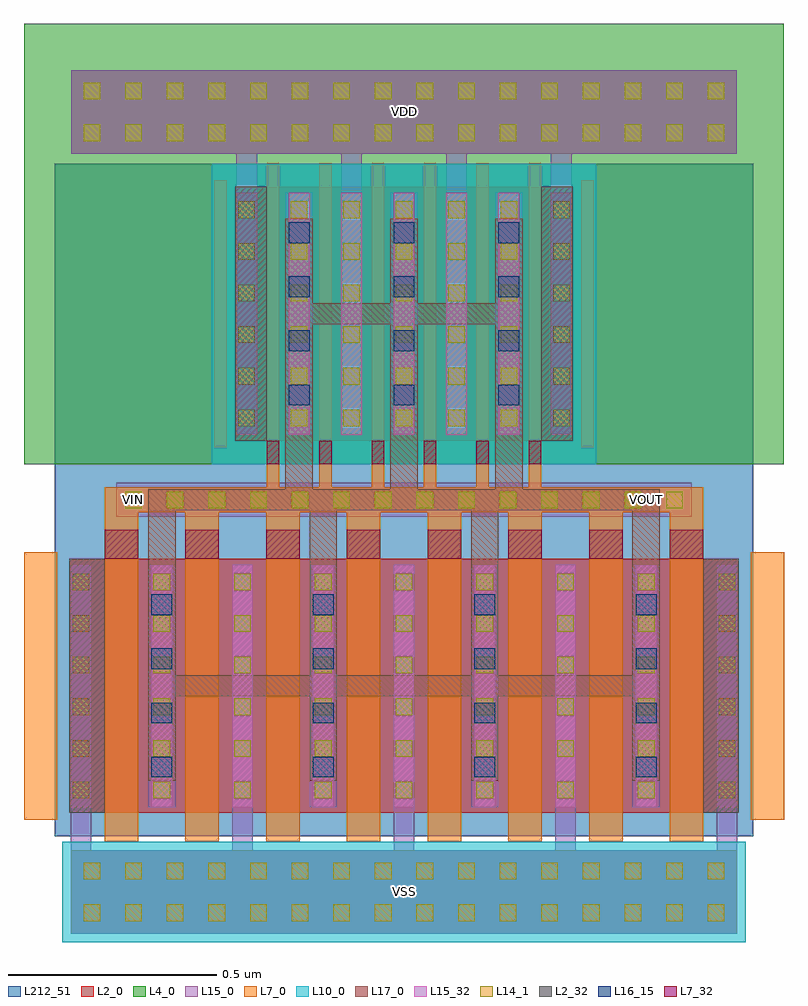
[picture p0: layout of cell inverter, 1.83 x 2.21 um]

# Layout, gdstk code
import gdstk
lib = gdstk.Library(unit=1e-6, precision=1e-09)
def R(c, l, rs):  # rectangles x0, y0, x1, y1
    for r in rs: c.add(gdstk.rectangle(r[:2], r[2:], *l))
def A(c, l, x, y, w, h, nx, ny, dx, dy):  # array of equal rectangles
    R(c, l, [(x+i*dx, y+j*dy, x+i*dx+w, y+j*dy+h) for i in range(nx) for j in range(ny)])
L2_0 = (2, 0)
L2_32 = (2, 32)
L4_0 = (4, 0)
L7_0 = (7, 0)
L7_32 = (7, 32)
L10_0 = (10, 0)
L14_1 = (14, 1)
L15_0 = (15, 0)
L15_32 = (15, 32)
L16_15 = (16, 15)
L17_0 = (17, 0)
L212_51 = (212, 51)

nmosininverter = lib.new_cell('nmosIninverter')
R(nmosininverter, L2_0, [(-0.804,-0.305,0.804,0.305)])
R(nmosininverter, L2_32, [(-0.804,-0.305,-0.719,0.305), (0.719,-0.305,0.804,0.305)])
A(nmosininverter, L7_0, -0.719, -0.375, 0.08, 0.75, 8, 1, 0.194, 0)
R(nmosininverter, L7_0, [(-0.913,-0.321,-0.833,0.321), (0.833,-0.321,0.913,0.321)])
A(nmosininverter, L7_32, -0.719, 0.305, 0.08, 0.07, 8, 1, 0.194, 0)
A(nmosininverter, L14_1, -0.796, -0.27, 0.04, 0.04, 9, 6, 0.194, 0.1)
A(nmosininverter, L15_0, -0.801, -0.291, 0.05, 0.582, 9, 1, 0.194, 0)
A(nmosininverter, L15_32, -0.801, -0.291, 0.05, 0.582, 9, 1, 0.194, 0)
R(nmosininverter, L212_51, [(-0.839,-0.361,0.839,0.361)])

pmosininverter = lib.new_cell('pmosIninverter')
R(pmosininverter, L2_0, [(-0.406,-0.305,0.406,0.305)])
R(pmosininverter, L2_32, [(-0.406,-0.305,-0.33,0.305), (0.33,-0.305,0.406,0.305)])
A(pmosininverter, L7_0, -0.33, -0.362, 0.03, 0.724, 6, 1, 0.126, 0)
R(pmosininverter, L7_0, [(-0.456,-0.321,-0.426,0.321), (0.426,-0.321,0.456,0.321)])
A(pmosininverter, L7_32, -0.33, -0.362, 0.03, 0.057, 6, 1, 0.126, 0)
R(pmosininverter, L10_0, [(-0.462,-0.361,0.462,0.361)])
A(pmosininverter, L14_1, -0.398, -0.27, 0.04, 0.04, 7, 6, 0.126, 0.1)
A(pmosininverter, L15_0, -0.403, -0.291, 0.05, 0.582, 7, 1, 0.126, 0)
A(pmosininverter, L15_32, -0.403, -0.291, 0.05, 0.582, 7, 1, 0.126, 0)
R(pmosininverter, L212_51, [(-0.441,-0.361,0.441,0.361)])

vdd_supplyininverter = lib.new_cell('vdd_supplyIninverter')
R(vdd_supplyininverter, L2_0, [(-0.8,-0.1,0.8,0.1)])
A(vdd_supplyininverter, L14_1, -0.77, -0.07, 0.04, 0.04, 16, 2, 0.1, 0.1)
R(vdd_supplyininverter, L15_0, [(-0.8,-0.1,0.8,0.1)])

vss_supplyininverter = lib.new_cell('vss_supplyIninverter')
R(vss_supplyininverter, L2_0, [(-0.8,-0.1,0.8,0.1)])
R(vss_supplyininverter, L10_0, [(-0.821,-0.121,0.821,0.121)])
A(vss_supplyininverter, L14_1, -0.77, -0.07, 0.04, 0.04, 16, 2, 0.1, 0.1)
R(vss_supplyininverter, L15_0, [(-0.8,-0.1,0.8,0.1)])

gate_contactsininverter = lib.new_cell('gate_contactsIninverter')
R(gate_contactsininverter, L7_0, [(-0.68,-0.03,0.68,0.03)])
A(gate_contactsininverter, L14_1, -0.67, -0.02, 0.04, 0.04, 14, 1, 0.1, 0)
R(gate_contactsininverter, L15_0, [(-0.691,-0.041,0.691,0.041)])

nmos_viasininverter = lib.new_cell('nmos_viasIninverter')
R(nmos_viasininverter, L15_0, [(-0.033,-0.228,0.033,0.228)])
A(nmos_viasininverter, L16_15, -0.025, -0.22, 0.05, 0.05, 1, 4, 0, 0.13)
R(nmos_viasininverter, L17_0, [(-0.033,-0.228,0.033,0.228)])

pmos_viasininverter = lib.new_cell('pmos_viasIninverter')
R(pmos_viasininverter, L15_0, [(-0.033,-0.228,0.033,0.228)])
A(pmos_viasininverter, L16_15, -0.025, -0.22, 0.05, 0.05, 1, 4, 0, 0.13)
R(pmos_viasininverter, L17_0, [(-0.033,-0.228,0.033,0.228)])

inverter = lib.new_cell('inverter')
R(inverter, L4_0, [(-0.912,0.859,0.912,1.917), (-0.912,1.582,0.912,1.67)])
R(inverter, L7_0, [(-0.719,0.743,0.719,0.803)])
R(inverter, L10_0, [(-0.166,-0.29,0.166,-0.048)])
A(inverter, L15_0, -0.615, 0.035, 0.066, 0.582, 4, 1, 0.388, 0)
A(inverter, L15_0, -0.285, 0.929, 0.066, 0.582, 3, 1, 0.252, 0)
R(inverter, L17_0, [(-0.615,0.748,0.615,0.798)])
R(inverter, L212_51, [(-0.839,-0.035,0.839,1.581)])
inverter.add(gdstk.FlexPath([(-0.776,0.326),(-0.776,-0.269)], 0.05, ends="flush", simple_path=True, layer=15, datatype=0))  # L15_0
inverter.add(gdstk.FlexPath([(-0.388,0.326),(-0.388,-0.269)], 0.05, ends="flush", simple_path=True, layer=15, datatype=0))  # L15_0
inverter.add(gdstk.FlexPath([(0,0.326),(0,-0.269)], 0.05, ends="flush", simple_path=True, layer=15, datatype=0))  # L15_0
inverter.add(gdstk.FlexPath([(0.388,0.326),(0.388,-0.269)], 0.05, ends="flush", simple_path=True, layer=15, datatype=0))  # L15_0
inverter.add(gdstk.FlexPath([(0.776,0.326),(0.776,-0.269)], 0.05, ends="flush", simple_path=True, layer=15, datatype=0))  # L15_0
inverter.add(gdstk.FlexPath([(-0.378,1.22),(-0.378,1.805)], 0.05, ends="flush", simple_path=True, layer=15, datatype=0))  # L15_0
inverter.add(gdstk.FlexPath([(-0.126,1.22),(-0.126,1.805)], 0.05, ends="flush", simple_path=True, layer=15, datatype=0))  # L15_0
inverter.add(gdstk.FlexPath([(0.126,1.22),(0.126,1.805)], 0.05, ends="flush", simple_path=True, layer=15, datatype=0))  # L15_0
inverter.add(gdstk.FlexPath([(0.378,1.22),(0.378,1.805)], 0.05, ends="flush", simple_path=True, layer=15, datatype=0))  # L15_0
inverter.add(gdstk.FlexPath([(-0.252,1.22),(0.252,1.22)], 0.05, ends="flush", simple_path=True, layer=17, datatype=0))  # L17_0
inverter.add(gdstk.FlexPath([(-0.582,0.326),(0.582,0.326)], 0.05, ends="flush", simple_path=True, layer=17, datatype=0))  # L17_0
inverter.add(gdstk.FlexPath([(-0.315,1.22),(-0.315,0.773)], 0.03, ends="flush", simple_path=True, layer=7, datatype=0))  # L7_0
inverter.add(gdstk.FlexPath([(-0.189,1.22),(-0.189,0.773)], 0.03, ends="flush", simple_path=True, layer=7, datatype=0))  # L7_0
inverter.add(gdstk.FlexPath([(-0.063,1.22),(-0.063,0.773)], 0.03, ends="flush", simple_path=True, layer=7, datatype=0))  # L7_0
inverter.add(gdstk.FlexPath([(0.063,1.22),(0.063,0.773)], 0.03, ends="flush", simple_path=True, layer=7, datatype=0))  # L7_0
inverter.add(gdstk.FlexPath([(0.189,1.22),(0.189,0.773)], 0.03, ends="flush", simple_path=True, layer=7, datatype=0))  # L7_0
inverter.add(gdstk.FlexPath([(0.315,1.22),(0.315,0.773)], 0.03, ends="flush", simple_path=True, layer=7, datatype=0))  # L7_0
inverter.add(gdstk.FlexPath([(-0.679,0.326),(-0.679,0.773)], 0.08, ends="flush", simple_path=True, layer=7, datatype=0))  # L7_0
inverter.add(gdstk.FlexPath([(-0.485,0.326),(-0.485,0.773)], 0.08, ends="flush", simple_path=True, layer=7, datatype=0))  # L7_0
inverter.add(gdstk.FlexPath([(-0.291,0.326),(-0.291,0.773)], 0.08, ends="flush", simple_path=True, layer=7, datatype=0))  # L7_0
inverter.add(gdstk.FlexPath([(-0.097,0.326),(-0.097,0.773)], 0.08, ends="flush", simple_path=True, layer=7, datatype=0))  # L7_0
inverter.add(gdstk.FlexPath([(0.097,0.326),(0.097,0.773)], 0.08, ends="flush", simple_path=True, layer=7, datatype=0))  # L7_0
inverter.add(gdstk.FlexPath([(0.291,0.326),(0.291,0.773)], 0.08, ends="flush", simple_path=True, layer=7, datatype=0))  # L7_0
inverter.add(gdstk.FlexPath([(0.485,0.326),(0.485,0.773)], 0.08, ends="flush", simple_path=True, layer=7, datatype=0))  # L7_0
inverter.add(gdstk.FlexPath([(0.679,0.326),(0.679,0.773)], 0.08, ends="flush", simple_path=True, layer=7, datatype=0))  # L7_0
inverter.add(gdstk.FlexPath([(-0.252,1.22),(-0.252,0.773)], 0.066, ends="flush", simple_path=True, layer=17, datatype=0))  # L17_0
inverter.add(gdstk.FlexPath([(0,1.22),(0,0.773)], 0.066, ends="flush", simple_path=True, layer=17, datatype=0))  # L17_0
inverter.add(gdstk.FlexPath([(0.252,1.22),(0.252,0.773)], 0.066, ends="flush", simple_path=True, layer=17, datatype=0))  # L17_0
inverter.add(gdstk.FlexPath([(-0.582,0.326),(-0.582,0.773)], 0.066, ends="flush", simple_path=True, layer=17, datatype=0))  # L17_0
inverter.add(gdstk.FlexPath([(-0.194,0.326),(-0.194,0.773)], 0.066, ends="flush", simple_path=True, layer=17, datatype=0))  # L17_0
inverter.add(gdstk.FlexPath([(0.194,0.326),(0.194,0.773)], 0.066, ends="flush", simple_path=True, layer=17, datatype=0))  # L17_0
inverter.add(gdstk.FlexPath([(0.582,0.326),(0.582,0.773)], 0.066, ends="flush", simple_path=True, layer=17, datatype=0))  # L17_0
inverter.add(gdstk.Reference(nmosininverter, (0,0.326)))
inverter.add(gdstk.Reference(pmosininverter, (0,1.22)))
inverter.add(gdstk.Reference(vdd_supplyininverter, (0,1.705)))
inverter.add(gdstk.Reference(vss_supplyininverter, (0,-0.169)))
inverter.add(gdstk.Reference(gate_contactsininverter, (0,0.773)))
inverter.add(gdstk.Reference(nmos_viasininverter, (-0.582,0.326)))
inverter.add(gdstk.Reference(nmos_viasininverter, (-0.194,0.326)))
inverter.add(gdstk.Reference(nmos_viasininverter, (0.194,0.326)))
inverter.add(gdstk.Reference(nmos_viasininverter, (0.582,0.326)))
inverter.add(gdstk.Reference(pmos_viasininverter, (-0.252,1.22)))
inverter.add(gdstk.Reference(pmos_viasininverter, (0,1.22)))
inverter.add(gdstk.Reference(pmos_viasininverter, (0.252,1.22)))
inverter.add(gdstk.Label('VOUT', (0.582,0.773), layer=17, texttype=20))
inverter.add(gdstk.Label('VSS', (0,-0.169), layer=15, texttype=20))
inverter.add(gdstk.Label('VDD', (0,1.705), layer=15, texttype=20))
inverter.add(gdstk.Label('VIN', (-0.65,0.773), layer=15, texttype=20))

lib.write_gds('inverter.gds')
